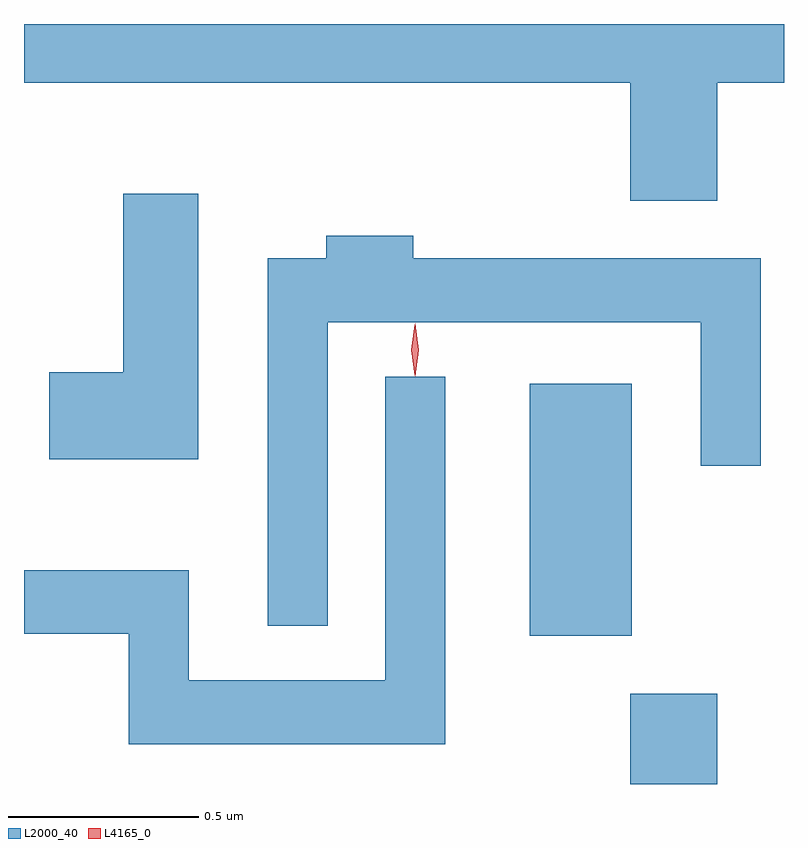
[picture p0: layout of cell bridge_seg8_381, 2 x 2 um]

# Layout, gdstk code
import gdstk
lib = gdstk.Library(unit=1e-6, precision=1e-09)
def R(c, l, rs):  # rectangles x0, y0, x1, y1
    for r in rs: c.add(gdstk.rectangle(r[:2], r[2:], *l))
def P(c, l, *ps):  # polygons
    for p in ps: c.add(gdstk.Polygon(p, *l))
L2000_40 = (2000, 40)
L4165_0 = (4165, 0)

bridge_seg8_381 = lib.new_cell('bridge_seg8_381')
R(bridge_seg8_381, L2000_40, [(685.791,1923.371,686.019,1923.609), (685.526,1923.761,685.794,1924.424)])
P(bridge_seg8_381, L2000_40, [(686.019,1925.216),(686.195,1925.216),(686.195,1925.371),(684.195,1925.371),(684.195,1925.216),(685.791,1925.216),(685.791,1924.906),(686.019,1924.906)],
  [(684.654,1924.924),(684.456,1924.924),(684.456,1924.454),(684.261,1924.454),(684.261,1924.226),(684.654,1924.226)],
  [(684.994,1924.586),(685.976,1924.586),(685.976,1924.208),(686.134,1924.208),(686.134,1924.754),(685.219,1924.754),(685.219,1924.814),(684.991,1924.814),(684.991,1924.754),(684.836,1924.754),(684.836,1923.788),(684.994,1923.788)],
  [(685.304,1924.443),(685.146,1924.443),(685.146,1923.644),(684.629,1923.644),(684.629,1923.934),(684.195,1923.934),(684.195,1923.766),(684.471,1923.766),(684.471,1923.476),(685.304,1923.476)])
P(bridge_seg8_381, L4165_0, [(685.224,1924.444),(685.224,1924.444),(685.214,1924.513),(685.224,1924.582),(685.224,1924.583),(685.225,1924.582),(685.234,1924.513),(685.225,1924.444)],
  [(685.223,1924.447),(685.214,1924.514),(685.223,1924.58),(685.223,1924.58),(685.224,1924.58),(685.234,1924.514),(685.224,1924.447),(685.224,1924.447)])

lib.write_gds('bridge_seg8_381.gds')
